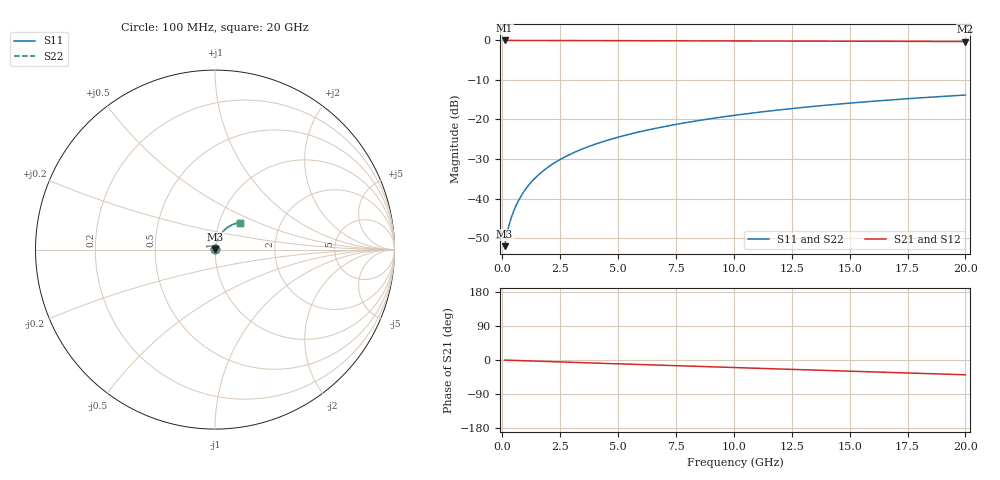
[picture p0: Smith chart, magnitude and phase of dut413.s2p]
! Touchstone file exported from HFSS 2026.1.0
!  File:  C:/ffzhzh/LocalFiles/Ansys_Project_Files/temp_train_TMRDL_413_1783005129_4048.aedt
!  Generated:  11:13:21 PM Jul  2, 2026
!  Design:  TMRDL
!  Project:  temp_train_TMRDL_413_1783005129_4048
! Variables:
!  h_bsmrdl = 2um
!  h_ox = 20um
!  h_rdl = 5um
!  h_sub = 80um
!  h_tmrdl = 5.5um
!  h_tsv = 80um
!  h_via = 3um
!  l_bsmrdl = 300um
!  l_sub = 1053.85um
!  l_tmrdl = 653.85um
!  m_sub = 200um
!  pitch = 38.2um
!  r_tsv = 6um
!  s_tmrdl = 10um
!  w_bsmrdl = 18um
!  w_sub = 500um
!  w_tmrdl = 24.39um
!  x_tsv_center1 = 666.045um
!  x_tsv_center2 = 984.045um
!  x_tsv_center3 = 1662.285um
!  x_tsv_center4 = 1980.285um
!  x_tsv_center5 = 2658.525um
!  x_tsv_center6 = 2976.525um
# GHz S MA R 50.000000
! Terminal data exported
! Port[1] = TM_RDL1_1_T1
! Port[2] = TM_RDL1_1_T2
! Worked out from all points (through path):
!   200 points, 100 MHz to 20 GHz, reference 50 ohm
!   highest |S21| = -0.02 dB at 100 MHz (marker M1); lowest = -0.3 dB at 20 GHz (marker M2)
!   group delay of S21, straight-line fit = 5.41 ps
!   lowest |S11| = -52.0 dB at 100 MHz (marker M3), VSWR 1.01, Z = 50.2 + j0.155 ohm
!   |S11| at or under -10 dB: start of sweep to end of sweep
!   |S22| runs from -52.0 to -13.8 dB; largest |S21 - S12| = 4.7e-15
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0.1  0.002498 38.1  0.998 -0.2  0.998 -0.2  0.002498 38.1
! Gamma 0 0 0 0
! Port Impedance 50 0 50 0
0.2  0.003611 52.5  0.9978 -0.4  0.9978 -0.4  0.003611 52.5
0.3  0.004728 60.0  0.9977 -0.6  0.9977 -0.6  0.004728 60.0
0.4  0.005863 64.9  0.9976 -0.8  0.9976 -0.8  0.005863 64.9
0.5  0.007025 68.3  0.9975 -1.0  0.9975 -1.0  0.007025 68.3
0.6  0.008208 70.8  0.9974 -1.3  0.9974 -1.3  0.008208 70.8
0.8  0.01062 73.9  0.9973 -1.7  0.9973 -1.7  0.01062 73.9
1.1  0.01428 76.4  0.9971 -2.3  0.9971 -2.3  0.01428 76.4
1.3  0.01674 77.2  0.9969 -2.7  0.9969 -2.7  0.01674 77.2
1.6  0.0204 77.8  0.9966 -3.3  0.9966 -3.3  0.0204 77.8
2.1  0.02644 77.9  0.9961 -4.3  0.9961 -4.3  0.02644 77.9
2.7  0.03357 77.4  0.9953 -5.5  0.9953 -5.5  0.03357 77.4
3.5  0.04284 76.4  0.9942 -7.1  0.9942 -7.1  0.04284 76.4
4.2  0.05077 75.3  0.9933 -8.5  0.9933 -8.5  0.05077 75.3
5  0.05967 74.1  0.9922 -10.1  0.9922 -10.1  0.05967 74.0
5.9  0.06952 72.6  0.9909 -11.9  0.9909 -11.9  0.06952 72.6
6.8  0.07921 71.1  0.9896 -13.7  0.9896 -13.7  0.07921 71.1
8.3  0.09506 68.6  0.9874 -16.6  0.9874 -16.6  0.09506 68.6
10.1  0.1136 65.5  0.9847 -20.1  0.9847 -20.1  0.1136 65.4
13.4  0.146 59.6  0.9792 -26.5  0.9792 -26.5  0.1459 59.6
16.7  0.1761 53.7  0.9733 -32.8  0.9733 -32.8  0.176 53.7
20  0.2036 47.8  0.9672 -39.0  0.9672 -39.0  0.2035 47.7
